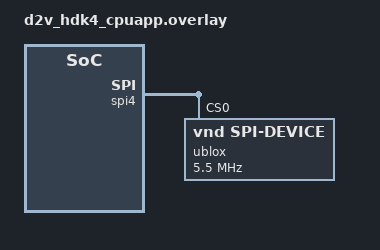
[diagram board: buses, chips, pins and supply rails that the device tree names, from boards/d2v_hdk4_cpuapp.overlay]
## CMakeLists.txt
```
#-------------------------------------------------------------------------------
# Zephyr Example Application
#
# Copyright (c) 2021 Nordic Semiconductor ASA
# SPDX-License-Identifier: Apache-2.0

cmake_minimum_required(VERSION 3.13.1)
find_package(Zephyr REQUIRED HINTS $ENV{ZEPHYR_BASE})

project(app LANGUAGES C VERSION 1.0.0)

# TODO: I should not have to set defines like this to say what should be specified in the devicetree
#nrf52840 dk i2c NEO-M8U
#target_compile_definitions(app PRIVATE U_CFG_APP_GNSS_I2C=0 U_CFG_TEST_GNSS_MODULE_TYPE=U_GNSS_MODULE_TYPE_M8)
#nrf5340dk spi ZED-F9R
target_compile_definitions(app PRIVATE U_CFG_APP_GNSS_SPI=4 U_CFG_TEST_GNSS_MODULE_TYPE=U_GNSS_MODULE_TYPE_M9)

configure_file(app_version.h.in ${CMAKE_BINARY_DIR}/app/include/app_version.h)
target_include_directories(app PRIVATE ${CMAKE_BINARY_DIR}/app/include src)

target_sources(app PRIVATE src/main.c)
```

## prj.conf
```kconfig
CONFIG_SPI=y

# Enable MPU
CONFIG_ARM_MPU=y

# Enable hardware stack protection
CONFIG_HW_STACK_PROTECTION=y

# Enable TrustZone-M
CONFIG_ARM_TRUSTZONE_M=n

# Enable GPIO
CONFIG_GPIO=y

# Enable uart driver
CONFIG_SERIAL=y

# Setup clocks
CONFIG_CLOCK_CONTROL_NRF_K32SRC_250PPM=y
CONFIG_SOC_LFXO_CAP_INT_7PF=y
CONFIG_SOC_HFXO_CAP_INTERNAL=y
CONFIG_SOC_HFXO_CAP_INT_VALUE_X2=27

CONFIG_PINCTRL=y

CONFIG_GPIO_PCA953X=y

# Enable Heartbeat and Fault LEDs
CONFIG_NFCT_PINS_AS_GPIOS=y

CONFIG_SPI=y
CONFIG_I2C=y
CONFIG_SENSOR=y
CONFIG_LM75=y

#USB STUFF
CONFIG_USB_DEVICE_STACK=y
CONFIG_USB_DEVICE_PRODUCT="Tome HDK"
CONFIG_USB_DEVICE_SN="9876543211"
CONFIG_SERIAL=y
CONFIG_UART_LINE_CTRL=y
CONFIG_USB_DEVICE_VID=0x3CDC
CONFIG_RING_BUFFER=y

# SEGGER RTT logging instead of UART
CONFIG_LOG=y
CONFIG_USE_SEGGER_RTT=y
CONFIG_RTT_CONSOLE=y
CONFIG_SEGGER_RTT_BUFFER_SIZE_UP=2048
```

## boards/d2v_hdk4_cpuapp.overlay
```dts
&spi4 {
	ublox: ublox@0 {
		compatible = "vnd,spi-device";
		reg = <0>;
		status = "okay";
		spi-max-frequency = <5500000>; //5.5MHz from zed-f9r datasheet
	};
};
```

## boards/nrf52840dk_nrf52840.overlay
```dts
&pinctrl {
    i2c0_default: i2c0_default {
        group1 {
            psels =
            <NRF_PSEL(TWIM_SDA, 0, 4)>,
            <NRF_PSEL(TWIM_SCL, 0, 3)>;
        };
    };

    i2c0_sleep: i2c0_sleep {
        group1 {
            psels =
            <NRF_PSEL(TWIM_SDA, 0, 4)>,
            <NRF_PSEL(TWIM_SCL, 0, 3)>;
            low-power-enable;
        };
    };
};

&i2c0 {
    compatible = "nordic,nrf-twi";
    status = "okay";
    clock-frequency = <I2C_BITRATE_FAST>;
    pinctrl-0 = <&i2c0_default>;
    pinctrl-1 = <&i2c0_sleep>;
    pinctrl-names = "default", "sleep";
};

//TODO: If I don't do this, I get build errors like
// $zephyrRoot/ubxlib/port/platform/zephyr/src/u_port_spi.c:260: undefined reference to `__device_dts_ord_108'
// I think because of stuff like this:
// of pDevice = DEVICE_DT_GET_OR_NULL(DT_NODELABEL(spi3));

// spi0 not required to be disabled? Maybe it comes disabled.
&spi1 {
    status = "disabled";
};
&spi2 {
    status = "disabled";
};
&spi3 {
    status = "disabled";
};
```

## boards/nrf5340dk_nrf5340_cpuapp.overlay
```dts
&pinctrl {
    spi4_default: spi4_default {
        group1 {
            psels =
                    <NRF_PSEL(SPIM_MOSI, 0, 20)>,
                    <NRF_PSEL(SPIM_MISO, 0, 31)>,
                    <NRF_PSEL(SPIM_SCK, 0, 19)>;
        };
    };

    spi4_sleep: spi4_sleep {
        group1 {
            psels =
                    <NRF_PSEL(SPIM_MOSI, 0, 20)>,
                    <NRF_PSEL(SPIM_MISO, 0, 31)>,
                    <NRF_PSEL(SPIM_SCK, 0, 19)>;
            low-power-enable;
        };
    };
};

// conflicts with spi4 pins
&uart0 {
	status = "disabled";
};

&spi4 {
    compatible = "nordic,nrf-spim";
    status = "okay";
    cs-gpios = <&gpio0 17 GPIO_ACTIVE_LOW>;
    pinctrl-0 = <&spi4_default>;
    pinctrl-1 = <&spi4_sleep>;
    pinctrl-names = "default", "sleep";
	ublox: ublox@0 {
		compatible = "vnd,spi-device";
		reg = <0>;
		status = "okay";
		spi-max-frequency = <5500000>; //5.5MHz from zed-f9r datasheet
	};
};
```

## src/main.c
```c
/*
 * Copyright (c) 2021 Nordic Semiconductor ASA
 * SPDX-License-Identifier: Apache-2.0
 */

#include <zephyr/kernel.h>
#include <zephyr/drivers/spi.h>

#include "app_version.h"

#include <zephyr/logging/log.h>
LOG_MODULE_REGISTER(main, CONFIG_APP_LOG_LEVEL);

#define SPI_OP SPI_OP_MODE_MASTER | SPI_WORD_SET(8)
struct spi_dt_spec spi_ublox = SPI_DT_SPEC_GET(DT_NODELABEL(ublox), SPI_OP, 0);


#define READ_BUF_SIZE 0x100
static bool get_version(const struct spi_dt_spec* spec)
{
    int ret;
    uint8_t s_buf[] = { 0xB5, 0x62, 0x0A, 0x04, 0x00, 0x00, 0x0E, 0x34 };
    uint8_t r_buf[READ_BUF_SIZE];
    uint8_t ubx_packet[READ_BUF_SIZE];
    size_t ubx_packet_index = 0;


    struct spi_buf tx_buf = {
        .buf = s_buf,
        .len = ARRAY_SIZE(s_buf),
    };
    const struct spi_buf_set tx = { .buffers = &tx_buf, .count = 1U };
    const struct spi_buf rx_buf = {
        .buf = r_buf,
        .len = ARRAY_SIZE(r_buf),
    };
    const struct spi_buf_set rx = { .buffers = &rx_buf, .count = 1U };

    bool found_response = false;
    bool complete_response = false;
    size_t attempts = 0;
    do {
        ++attempts;
        ret = spi_transceive_dt(spec, &tx, &rx);
        tx_buf.len = 0; // don't send anything after the first time
        if(ret != 0) {
            LOG_ERR("spi_transceive_dt return nonzero");
        }
        size_t i = 0;
        if (!found_response) {
            for (i = 0; i < READ_BUF_SIZE - 1; ++i) {
                if (r_buf[i] == 0xb5 && r_buf[i + 1] == 0x62) {
                    LOG_INF("found first byte");
                    found_response = true;
                    break;
                }
            }
        }
        if (found_response) {
            LOG_INF("processing...");
            // in the middle of a packet
            if (ubx_packet_index <= 6) {
                memcpy(ubx_packet + ubx_packet_index, r_buf + i, 6 - ubx_packet_index);
                i += 6 - ubx_packet_index;
                ubx_packet_index += 6 - ubx_packet_index;
            }
            // we now have at least 5 bytes, and can get size
            // calculate full packet size (including header, size, and checksum)
            size_t len = ((ubx_packet[5] << 8) | ubx_packet[4]) + 8;

            // if we have less to go then full read buf
            if (len - ubx_packet_index < READ_BUF_SIZE - i) {
                memcpy(ubx_packet + ubx_packet_index, r_buf + i, len - ubx_packet_index);
                ubx_packet_index += len - ubx_packet_index;
                complete_response = true;
            } else {
                memcpy(ubx_packet + ubx_packet_index, r_buf + i, READ_BUF_SIZE - i);
                ubx_packet_index += READ_BUF_SIZE - i;
            }
        } else {
            LOG_INF("waiting...");
        }
    } while (attempts < 15 && !complete_response);
    // we should have a full packet now?
    LOG_HEXDUMP_INF(ubx_packet, ubx_packet_index, "ubx mon ver packet");

    return complete_response;
}

void main(void)
{
    printk("direct spi test %s\n", APP_VERSION_STR);
    while (!spi_is_ready_dt(&spi_ublox)) {
        k_msleep(5);
    }
    LOG_INF("spi is ready");

    bool found_version = get_version(&spi_ublox);
    if(found_version != true) {
        LOG_ERR("didn't find version packet");
    }

}
```
